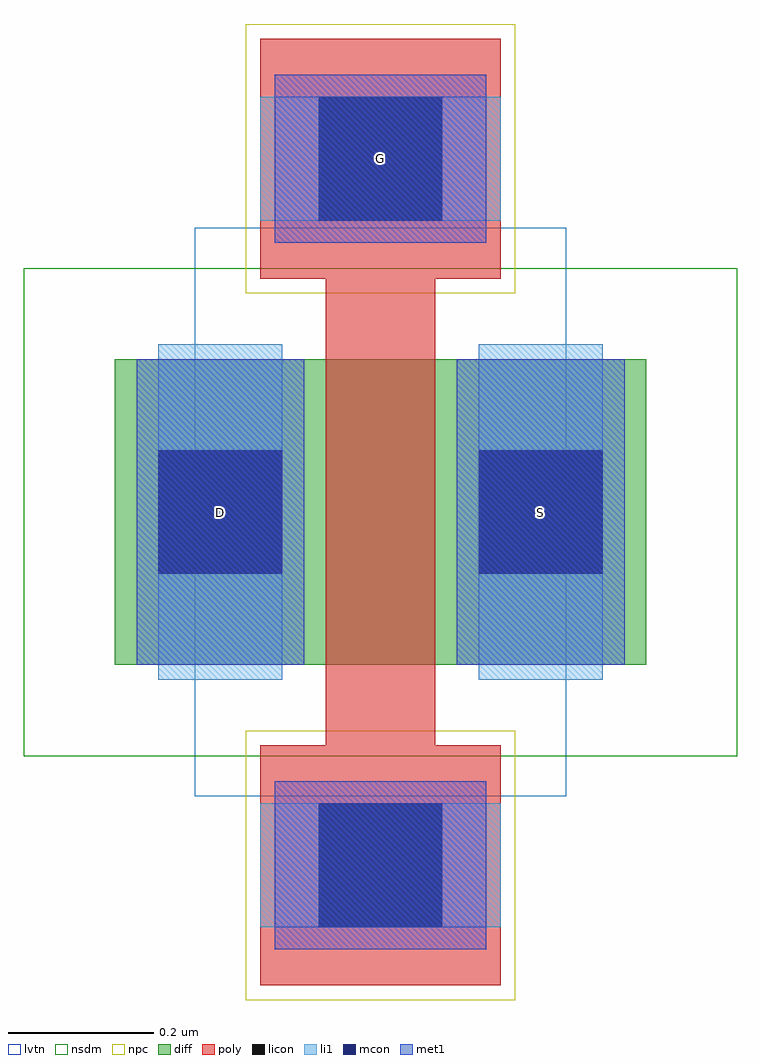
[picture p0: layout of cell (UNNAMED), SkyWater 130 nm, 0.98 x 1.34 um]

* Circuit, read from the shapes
.subckt (UNNAMED) D G S
XM1 S G D VSUBS sky130_fd_pr__nfet_01v8_lvt w=0.42 l=0.15
.ends

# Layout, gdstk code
import gdstk
lib = gdstk.Library(unit=1e-6, precision=1e-09)
def R(c, l, rs):  # rectangles x0, y0, x1, y1
    for r in rs: c.add(gdstk.rectangle(r[:2], r[2:], *l))
diff = (65, 20)
poly = (66, 20)
licon = (66, 44)
li1 = (67, 20)
mcon = (67, 44)
met1 = (68, 20)
nsdm = (93, 44)
npc = (95, 20)
lvtn = (125, 44)

c__unnamed_ = lib.new_cell('(UNNAMED)')
R(c__unnamed_, diff, [(-0.365,-0.21,0.365,0.21)])
R(c__unnamed_, poly, [(-0.165,-0.65,0.165,-0.32), (-0.075,-0.32,0.075,0.32), (-0.165,0.32,0.165,0.65)])
R(c__unnamed_, licon, [(-0.085,-0.57,0.085,-0.4), (-0.305,-0.085,-0.135,0.085), (0.135,-0.085,0.305,0.085), (-0.085,0.4,0.085,0.57)])
R(c__unnamed_, li1, [(-0.165,-0.57,0.165,-0.4), (-0.305,-0.23,-0.135,0.23), (0.135,-0.23,0.305,0.23), (-0.165,0.4,0.165,0.57)])
R(c__unnamed_, mcon, [(-0.085,-0.57,0.085,-0.4), (-0.305,-0.085,-0.135,0.085), (0.135,-0.085,0.305,0.085), (-0.085,0.4,0.085,0.57)])
R(c__unnamed_, met1, [(-0.145,-0.6,0.145,-0.37), (-0.335,-0.21,-0.105,0.21), (0.105,-0.21,0.335,0.21), (-0.145,0.37,0.145,0.6)])
R(c__unnamed_, nsdm, [(-0.49,-0.335,0.49,0.335)])
R(c__unnamed_, npc, [(-0.185,-0.67,0.185,-0.3), (-0.185,0.3,0.185,0.67)])
R(c__unnamed_, lvtn, [(-0.255,-0.39,0.255,0.39)])
c__unnamed_.add(gdstk.Label('D', (-0.22,0), layer=67, texttype=5))
c__unnamed_.add(gdstk.Label('S', (0.22,0), layer=67, texttype=5))
c__unnamed_.add(gdstk.Label('G', (0,0.485), layer=67, texttype=5))

lib.write_gds('_UNNAMED_.gds')
